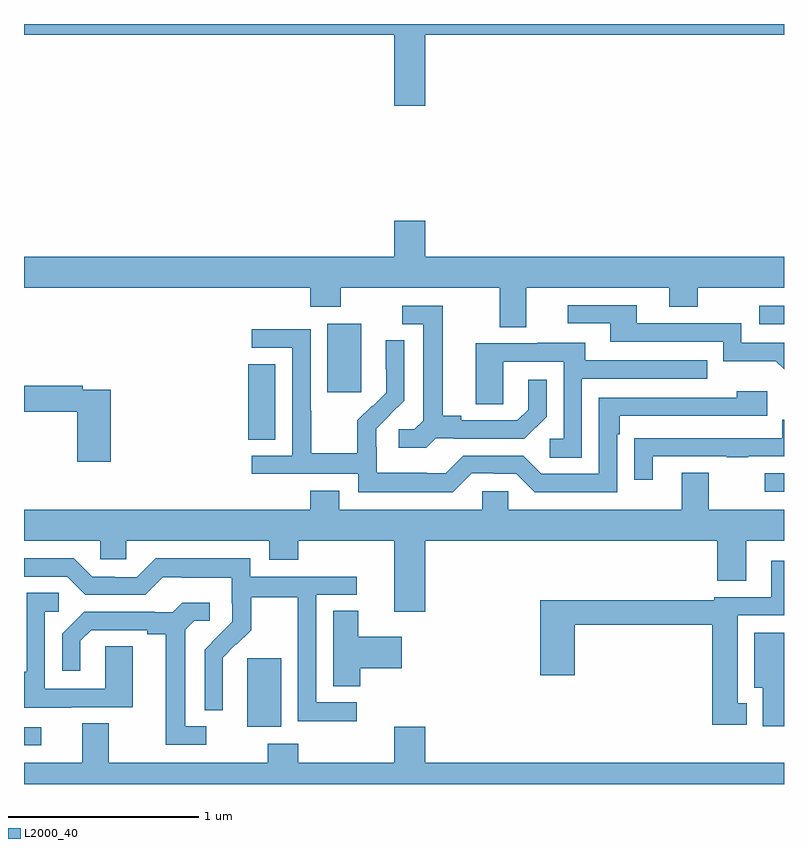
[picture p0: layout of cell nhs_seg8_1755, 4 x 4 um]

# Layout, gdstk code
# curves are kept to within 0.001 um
import gdstk
lib = gdstk.Library(unit=1e-6, precision=1e-09)
def R(c, l, rs):  # rectangles x0, y0, x1, y1
    for r in rs: c.add(gdstk.rectangle(r[:2], r[2:], *l))
def P(c, l, *ps):  # polygons
    for p in ps: c.add(gdstk.Polygon(p, *l))
L2000_40 = (2000, 40)

nhs_seg8_1755 = lib.new_cell('nhs_seg8_1755')
R(nhs_seg8_1755, L2000_40, [(223,1102.104,223.09,1102.2), (224.174,1102.202,224.353,1102.563), (226.899,1103.439,227,1103.535), (224.18,1103.713,224.323,1104.11), (224.597,1103.961,224.776,1104.322), (226.869,1104.321,227,1104.417)])
P(nhs_seg8_1755, L2000_40, [(225.112,1105.844),(227,1105.844),(227,1105.9),(223,1105.9),(223,1105.844),(224.948,1105.844),(224.948,1105.47),(225.112,1105.47)],
  [(225.643,1104.512),(226.397,1104.512),(226.397,1104.413),(226.545,1104.413),(226.545,1104.512),(227,1104.512),(227,1104.676),(225.112,1104.676),(225.112,1104.865),(224.948,1104.865),(224.948,1104.676),(223,1104.676),(223,1104.512),(224.507,1104.512),(224.507,1104.413),(224.667,1104.413),(224.667,1104.512),(225.503,1104.512),(225.503,1104.304),(225.643,1104.304)],
  [(227,1104.222),(226.776,1104.222),(226.776,1104.324),(226.225,1104.324),(226.225,1104.42),(225.861,1104.42),(225.861,1104.324),(226.085,1104.324),(226.085,1104.228),(226.68,1104.228),(226.68,1104.125),(226.957,1104.125),(227,1104.082)],
  [(225.168,1103.721),(225.262,1103.721),(225.262,1103.718),(225.634,1103.718),(225.75,1103.834),(225.75,1104.028),(225.653,1104.028),(225.653,1103.871),(225.596,1103.814),(225.301,1103.814),(225.301,1103.837),(225.205,1103.837),(225.205,1104.417),(224.991,1104.417),(224.991,1104.321),(225.101,1104.321),(225.101,1103.813),(225.054,1103.766),(224.973,1103.766),(224.973,1103.669),(225.116,1103.669)],
  [(225.357,1103.535),(225.473,1103.535),(225.473,1103.532),(225.591,1103.532),(225.687,1103.436),(226.122,1103.436),(226.122,1103.741),(226.135,1103.741),(226.135,1103.838),(226.912,1103.838),(226.912,1103.968),(226.751,1103.968),(226.751,1103.934),(226.026,1103.934),(226.026,1103.532),(225.723,1103.532),(225.627,1103.628),(225.312,1103.628),(225.219,1103.535),(225.119,1103.535),(225.119,1103.539),(224.856,1103.539),(224.856,1103.673),(224.854,1103.673),(224.854,1103.77),(225,1103.918),(225,1104.236),(224.904,1104.236),(224.904,1104.082),(224.906,1104.082),(224.906,1103.96),(224.835,1103.889),(224.832,1103.892),(224.755,1103.815),(224.755,1103.641),(224.511,1103.641),(224.511,1103.864),(224.508,1103.864),(224.508,1104.294),(224.199,1104.294),(224.199,1104.195),(224.412,1104.195),(224.412,1103.628),(224.199,1103.628),(224.199,1103.532),(224.76,1103.532),(224.76,1103.435),(225.257,1103.435)],
  [(225.936,1104.033),(226.595,1104.033),(226.595,1104.129),(225.955,1104.129),(225.955,1104.223),(225.701,1104.223),(225.701,1104.219),(225.377,1104.219),(225.377,1103.899),(225.522,1103.899),(225.522,1104.123),(225.84,1104.123),(225.84,1103.718),(225.768,1103.718),(225.768,1103.617),(225.936,1103.617)],
  [(223.457,1103.976),(223.31,1103.976),(223.31,1103.996),(223,1103.996),(223,1103.86),(223.279,1103.86),(223.279,1103.595),(223.457,1103.595)],
  [(226.309,1103.625),(226.699,1103.625),(226.699,1103.62),(226.811,1103.62),(226.811,1103.625),(227,1103.625),(227,1103.818),(226.99,1103.818),(226.99,1103.721),(226.315,1103.721),(226.315,1103.72),(226.213,1103.72),(226.213,1103.502),(226.309,1103.502)],
  [(225.112,1103.18),(226.649,1103.18),(226.649,1102.969),(226.801,1102.969),(226.801,1103.18),(227,1103.18),(227,1103.344),(226.603,1103.344),(226.603,1103.539),(226.463,1103.539),(226.463,1103.344),(225.549,1103.344),(225.549,1103.442),(225.411,1103.442),(225.411,1103.344),(224.659,1103.344),(224.659,1103.443),(224.507,1103.443),(224.507,1103.344),(223,1103.344),(223,1103.18),(223.401,1103.18),(223.401,1103.082),(223.539,1103.082),(223.539,1103.18),(224.291,1103.18),(224.291,1103.081),(224.444,1103.081),(224.444,1103.18),(224.948,1103.18),(224.948,1102.806),(225.112,1102.806)],
  [(224.752,1102.329),(224.538,1102.329),(224.538,1102.896),(224.752,1102.896),(224.752,1102.992),(224.19,1102.992),(224.19,1103.089),(223.693,1103.089),(223.593,1102.989),(223.478,1102.989),(223.478,1102.992),(223.359,1102.992),(223.263,1103.088),(223,1103.088),(223,1102.992),(223.227,1102.992),(223.323,1102.896),(223.638,1102.896),(223.731,1102.989),(223.831,1102.989),(223.831,1102.985),(224.094,1102.985),(224.094,1102.851),(224.096,1102.851),(224.096,1102.754),(223.95,1102.606),(223.95,1102.288),(224.046,1102.288),(224.045,1102.565),(224.115,1102.635),(224.118,1102.632),(224.195,1102.709),(224.195,1102.884),(224.44,1102.884),(224.44,1102.66),(224.442,1102.66),(224.442,1102.231),(224.752,1102.231)],
  [(226.804,1102.325),(226.756,1102.325),(226.756,1102.788),(227,1102.788),(227,1103.074),(226.934,1103.074),(226.934,1102.884),(226.634,1102.884),(226.634,1102.867),(225.716,1102.867),(225.716,1102.473),(225.899,1102.473),(225.899,1102.738),(226.622,1102.738),(226.622,1102.212),(226.804,1102.212)],
  [(223.249,1102.305),(223.573,1102.305),(223.573,1102.625),(223.428,1102.625),(223.428,1102.401),(223.11,1102.401),(223.11,1102.806),(223.183,1102.806),(223.183,1102.907),(223.014,1102.907),(223.014,1102.491),(223,1102.491),(223,1102.301),(223.249,1102.301)],
  [(223.96,1102.203),(223.849,1102.203),(223.849,1102.711),(223.896,1102.758),(223.978,1102.758),(223.978,1102.855),(223.834,1102.855),(223.782,1102.803),(223.688,1102.803),(223.688,1102.806),(223.316,1102.806),(223.2,1102.69),(223.2,1102.497),(223.297,1102.497),(223.297,1102.653),(223.354,1102.71),(223.649,1102.71),(223.649,1102.688),(223.745,1102.688),(223.745,1102.107),(223.96,1102.107)],
  [(224.771,1102.51),(224.989,1102.51),(224.989,1102.675),(224.758,1102.675),(224.758,1102.811),(224.627,1102.811),(224.627,1102.414),(224.771,1102.414)],
  [(227,1102.696),(226.844,1102.696),(226.844,1102.406),(226.889,1102.406),(226.889,1102.203),(227,1102.203)],
  [(227,1102.012),(225.112,1102.012),(225.112,1102.201),(224.948,1102.201),(224.948,1102.012),(224.444,1102.012),(224.444,1102.111),(224.284,1102.111),(224.284,1102.012),(223.447,1102.012),(223.447,1102.22),(223.307,1102.22),(223.307,1102.012),(223,1102.012),(223,1101.9),(227,1101.9)])

lib.write_gds('nhs_seg8_1755.gds')
